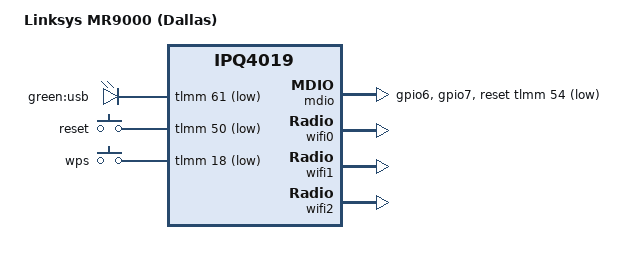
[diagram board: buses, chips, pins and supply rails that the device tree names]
// SPDX-License-Identifier: GPL-2.0-or-later OR MIT

#include <dt-bindings/leds/common.h>

#include "qcom-ipq4019-xx8300.dtsi"

/ {
	model = "Linksys MR9000 (Dallas)";
	compatible = "linksys,ea9000", "qcom,ipq4019";

	reserved-memory {
		#address-cells = <1>;
		#size-cells = <1>;
		ranges;

		ramoops@87500000 {
			compatible = "ramoops";
			reg = <0x87500000 0x600000>;
			console-size = <0x200000>;
			pmsg-size    = <0x200000>;
			record-size  = <0x200000>;
			ecc-size = <16>;
		};
	};

	aliases {
		serial0 = &blsp1_uart1;
	};


	leds {
		compatible = "gpio-leds";

		// Retain node names from running OEM on EA8300

		// Front panel LEDs, top to bottom

/*		led_plug: diag {
			label = "amber:plug";
			gpios = <&tlmm 47 GPIO_ACTIVE_HIGH>;
		};*/

/*		led_world: internet {
			label = "amber:world";
			gpios = <&tlmm 49 GPIO_ACTIVE_HIGH>;
		};*/

/*		led_wps: wps {
			label = "white:wps";
			gpios = <&tlmm 46 GPIO_ACTIVE_HIGH>;
		};*/

/*		led_wps_amber: wps_amber {
			label = "amber:wps";
			gpios = <&tlmm 22 GPIO_ACTIVE_HIGH>;
		};*/

/*		led_linksys: pwr {
			label = "white:linksys";
			gpios = <&tlmm 45 GPIO_ACTIVE_HIGH>;
		};*/

		// On back panel, above USB socket

		led_usb: usb {
			label = "green:usb";
			gpios = <&tlmm 61 GPIO_ACTIVE_LOW>;
		};
	};

	keys {
		compatible = "gpio-keys";

		reset {
			label = "reset";
			linux,code = <KEY_RESTART>;
			gpios = <&tlmm 50 GPIO_ACTIVE_LOW>;
		};

		wps {
			label = "wps";
			linux,code = <KEY_WPS_BUTTON>;
			gpios = <&tlmm 18 GPIO_ACTIVE_LOW>;
		};
	};
};

&mdio {
	status = "okay";
	pinctrl-0 = <&mdio_pins>;
	pinctrl-names = "default";
	reset-gpios = <&tlmm 54 GPIO_ACTIVE_LOW>;
	reset-delay-us = <2000>;
	reset-post-delay-us = <1000>;
};

&tlmm {
	status = "okay";
	mdio_pins: mdio_pinmux {
		mux_1 {
			pins = "gpio6";
			function = "mdio";
			bias-pull-up;
		};
		mux_2 {
			pins = "gpio7";
			function = "mdc";
			bias-pull-up;
		};
	};
};

&wifi0 {
	status = "okay";
	qcom,ath10k-calibration-variant = "linksys-ea8300-fcc";
};

&wifi1 {
	status = "okay";
	ieee80211-freq-limit = <4800000 5490000>;
	qcom,ath10k-calibration-variant = "linksys-ea8300-fcc";
};

&wifi2 {
	status = "okay";
	ieee80211-freq-limit = <5490000 6115000>;
	qcom,ath10k-calibration-variant = "linksys-mr9000-fcc";
};
